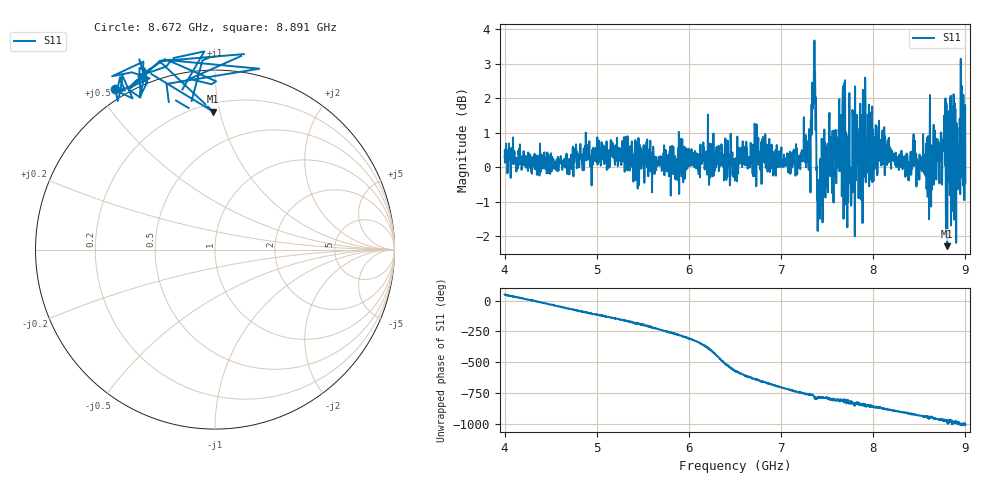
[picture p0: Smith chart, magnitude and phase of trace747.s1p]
! Created with skrf 1.8.0 (http://scikit-rf.org).
# Hz S RI R 50.0
!freq ReS11 ImS11
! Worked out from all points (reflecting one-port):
!   1601 points, 4 GHz to 9 GHz, reference 50 ohm
!   lowest |S11| = -2.3 dB at 8.803 GHz (marker M1), VSWR 7.63, Z = 12.7 + j47.7 ohm
!   phase of S11 starts at 49 deg and turns -1056 deg over the sweep
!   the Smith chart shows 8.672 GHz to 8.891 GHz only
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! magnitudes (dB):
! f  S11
! 4 GHz  0.3
! 4.625 GHz  -0.1
! 5.25 GHz  0.3
! 5.875 GHz  0.2
! 6.416 GHz  -0.3
! 6.5 GHz  -0.4
! 6.738 GHz  0.6
! 7.125 GHz  0.4
! 7.294 GHz  0.2
! 7.356 GHz  2.8
! 7.412 GHz  -1.1
! 7.481 GHz  -0.9
! 7.588 GHz  0.3
! 7.669 GHz  2.2
! 7.75 GHz  -0.5
! 7.775 GHz  1.7
! 7.8 GHz  -2.0
! 7.859 GHz  1.8
! 7.928 GHz  0.5
! 7.981 GHz  -0.4
! 8.116 GHz  0.3
! 8.375 GHz  0.0
! 8.612 GHz  0.6
! 8.759 GHz  0.5
! 8.803 GHz  -2.3
! 8.875 GHz  0.6
! 8.959 GHz  2.4
! 9 GHz  -0.5
